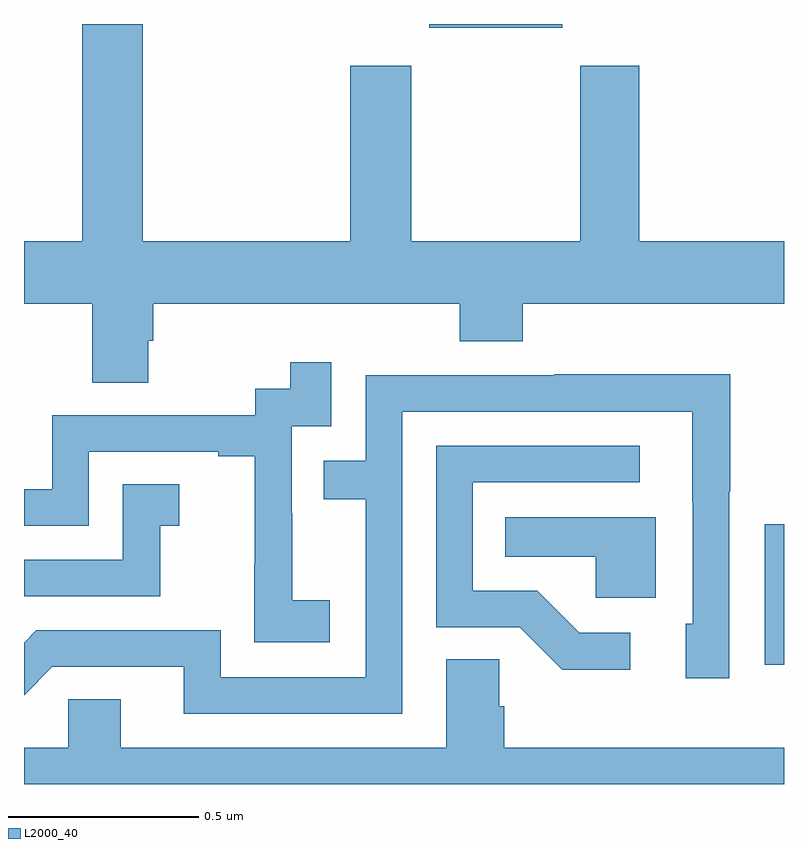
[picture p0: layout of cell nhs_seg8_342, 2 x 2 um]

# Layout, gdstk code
import gdstk
lib = gdstk.Library(unit=1e-6, precision=1e-09)
def R(c, l, rs):  # rectangles x0, y0, x1, y1
    for r in rs: c.add(gdstk.rectangle(r[:2], r[2:], *l))
def P(c, l, *ps):  # polygons
    for p in ps: c.add(gdstk.Polygon(p, *l))
L2000_40 = (2000, 40)

nhs_seg8_342 = lib.new_cell('nhs_seg8_342')
R(nhs_seg8_342, L2000_40, [(116.949,1118.214,117,1118.584), (116.066,1119.89,116.416,1119.9)])
P(nhs_seg8_342, L2000_40, [(115.327,1119.066),(115.34,1119.066),(115.34,1119.164),(116.147,1119.164),(116.147,1119.065),(116.312,1119.065),(116.312,1119.164),(117,1119.164),(117,1119.328),(116.619,1119.328),(116.619,1119.79),(116.464,1119.79),(116.464,1119.328),(116.019,1119.328),(116.019,1119.79),(115.859,1119.79),(115.859,1119.328),(115.313,1119.328),(115.313,1119.9),(115.153,1119.9),(115.153,1119.328),(115,1119.328),(115,1119.164),(115.18,1119.164),(115.18,1118.956),(115.327,1118.956)],
  [(115.804,1118.383),(115.706,1118.383),(115.706,1118.612),(115.704,1118.612),(115.704,1118.841),(115.809,1118.841),(115.809,1119.01),(115.701,1119.01),(115.701,1118.94),(115.608,1118.94),(115.608,1118.871),(115.074,1118.871),(115.074,1118.676),(115,1118.676),(115,1118.58),(115.17,1118.58),(115.17,1118.775),(115.511,1118.775),(115.511,1118.763),(115.607,1118.763),(115.607,1118.479),(115.606,1118.479),(115.606,1118.273),(115.804,1118.273)],
  [(115.995,1118.88),(116.759,1118.88),(116.759,1118.641),(116.76,1118.641),(116.76,1118.322),(116.741,1118.322),(116.741,1118.178),(116.856,1118.178),(116.856,1118.671),(116.859,1118.671),(116.859,1118.978),(116.395,1118.978),(116.395,1118.976),(115.899,1118.976),(115.899,1118.751),(115.789,1118.751),(115.789,1118.65),(115.899,1118.65),(115.899,1118.181),(115.518,1118.181),(115.518,1118.304),(115.032,1118.304),(115,1118.272),(115,1118.134),(115.074,1118.208),(115.421,1118.208),(115.421,1118.085),(115.995,1118.085)],
  [(116.596,1118.298),(116.461,1118.298),(116.35,1118.409),(116.181,1118.409),(116.181,1118.694),(116.62,1118.694),(116.62,1118.79),(116.085,1118.79),(116.085,1118.313),(116.304,1118.313),(116.417,1118.201),(116.596,1118.201)],
  [(115.359,1118.579),(115.408,1118.579),(115.408,1118.689),(115.26,1118.689),(115.26,1118.49),(115,1118.49),(115,1118.394),(115.359,1118.394)],
  [(116.662,1118.602),(116.266,1118.602),(116.266,1118.498),(116.505,1118.498),(116.505,1118.39),(116.662,1118.39)],
  [(117,1117.996),(116.264,1117.996),(116.264,1118.105),(116.25,1118.105),(116.25,1118.228),(116.111,1118.228),(116.111,1117.996),(115.255,1117.996),(115.255,1118.123),(115.116,1118.123),(115.116,1117.996),(115,1117.996),(115,1117.9),(117,1117.9)])

lib.write_gds('nhs_seg8_342.gds')
